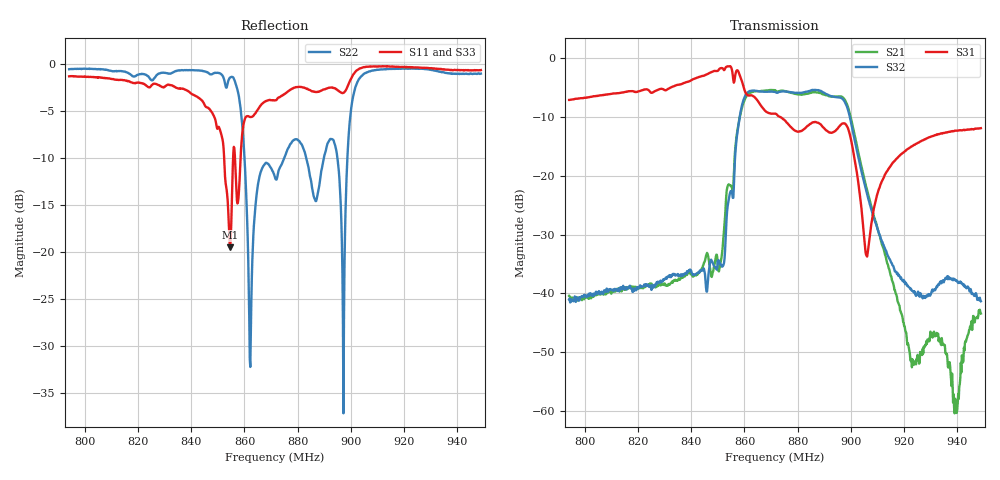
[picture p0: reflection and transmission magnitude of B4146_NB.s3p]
! Matrix data file written by TouchstoneData, EPCOS AG
! FILENAME: "L972G_NB.s3p"
! COMMENT: "(L972G_NBN1.s3p) (L972G_NBN1.s3p)"
! INFO: nport=3, nfreq=801
! DATE: "Fri Nov 14 14:07:52 2008"
! USER: "Aleksander Breg"
! port | pin | signal
!  1  |  2  input
!  2  |  4  |  output
!  3  |  6  |  output
# MHZ S MA R 50
! freq  magS11 angS11  magS12 angS12  magS13 angS13  ...
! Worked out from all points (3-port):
!   801 points, 794 MHz to 949 MHz, reference 50 ohm
!   strongest paths, dB at 794 MHz, 832.8 MHz, 871.5 MHz, 910.2 MHz, 949 MHz:
!     S31: -7.1, -4.8, -9.4, -22.8, -11.9
!     S32: -41.1, -37.0, -5.7, -29.3, -41.4
!     S21: -40.5, -38.0, -5.4, -29.2, -43.5
!   lowest |S11| = -19.5 dB at 854.6 MHz (marker M1), VSWR 1.24, Z = 57.4 - j8.73 ohm
!   |S11| at or under -10 dB: 852.3512 MHz to 855.7371 MHz (3.386 MHz wide, 0.396 % of centre); 856.4243 MHz to 858.5345 MHz (2.11 MHz wide, 0.246 % of centre)
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794  0.856 -55.1  0.009362 -176.2  0.4422 32.9
     0.009489 -172.4  0.9332 -114.0  0.008827 -172.7
     0.4432 32.6  0.008846 -175.0  0.8552 -53.6
847.8625  0.5484 -82.3  0.01429 147.0  0.7694 3.7
          0.01424 146.3  0.8797 -164.4  0.01855 169.2
          0.7715 3.6  0.01857 168.4  0.546 -81.4
854.6437  0.1062 -45.1  0.08393 87.4  0.8574 -23.5
          0.08339 87.5  0.8438 166.4  0.07204 -110.0
          0.8598 -23.7  0.07245 -110.0  0.09609 -51.3
862.2  0.5208 -20.7  0.5128 -90.6  0.4843 -37.8
       0.5101 -90.3  0.02456 -52.8  0.5255 91.9
       0.4846 -37.9  0.5284 91.5  0.5034 -17.3
871.5  0.6382 -26.8  0.5368 123.5  0.3376 -35.6
       0.5371 123.9  0.2501 94.2  0.5164 -54.6
       0.3396 -35.8  0.5187 -55.2  0.6537 -25.4
883.5125  0.7334 -34.4  0.4996 -8.7  0.2635 -20.0
          0.4999 -8.2  0.3049 -133.9  0.5224 172.2
          0.2627 -20.0  0.5215 171.6  0.7131 -33.4
897.2687  0.7004 -27.4  0.4576 177.1  0.2807 -42.8
          0.4604 177.0  0.01394 -5.1  0.4454 -0.6
          0.2802 -43.1  0.4431 -1.0  0.7135 -25.1
905.9875  0.9621 -31.9  0.07821 71.3  0.02064 -21.7
          0.07851 72.3  0.898 -24.4  0.07162 -107.3
          0.02082 -22.8  0.07212 -108.6  0.9625 -30.2
939.5063  0.9238 -47.0  0.001002 173.3  0.2422 37.3
          0.001028 177.3  0.8814 -79.9  0.01299 -165.1
          0.2421 37.5  0.01276 -165.6  0.9242 -45.2
949  0.9235 -48.2  0.007026 -151.1  0.2539 36.1
     0.006715 -147.9  0.8847 -83.3  0.008867 -176.6
     0.2547 35.9  0.008545 -177.1  0.919 -46.4
